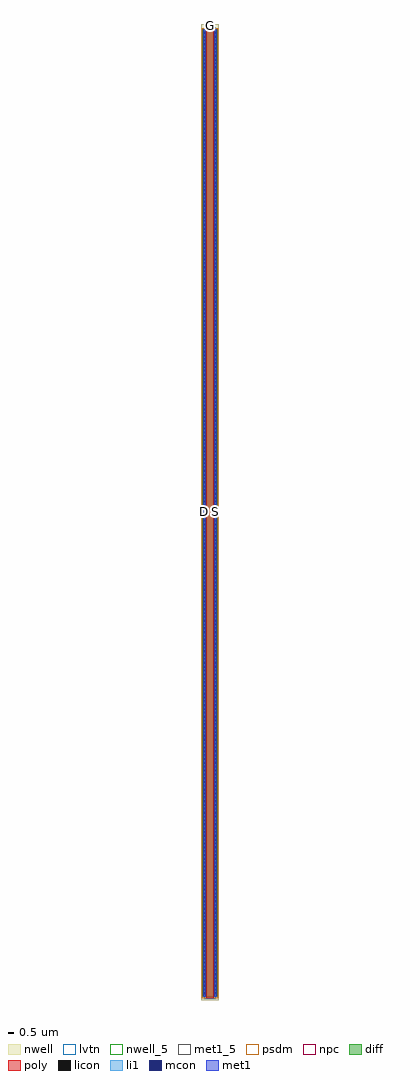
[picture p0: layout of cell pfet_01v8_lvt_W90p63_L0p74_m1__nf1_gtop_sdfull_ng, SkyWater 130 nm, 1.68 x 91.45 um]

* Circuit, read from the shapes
.subckt pfet_01v8_lvt_W90p63_L0p74_m1__nf1_gtop_sdfull_ng B D G S
XM1 S G D B sky130_fd_pr__pfet_01v8_lvt w=90.63 l=0.74
.ends

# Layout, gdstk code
import gdstk
lib = gdstk.Library(unit=1e-6, precision=1e-09)
def R(c, l, rs):  # rectangles x0, y0, x1, y1
    for r in rs: c.add(gdstk.rectangle(r[:2], r[2:], *l))
def A(c, l, x, y, w, h, nx, ny, dx, dy):  # array of equal rectangles
    R(c, l, [(x+i*dx, y+j*dy, x+i*dx+w, y+j*dy+h) for i in range(nx) for j in range(ny)])
nwell_5 = (64, 5)
nwell = (64, 20)
diff = (65, 20)
poly = (66, 20)
licon = (66, 44)
li1 = (67, 20)
mcon = (67, 44)
met1_5 = (68, 5)
met1 = (68, 20)
psdm = (94, 20)
npc = (95, 20)
lvtn = (125, 44)

sky130_fd_pr__pfet_01v8_ = lib.new_cell('sky130_fd_pr__pfet_01v8_lvt_XUBZ8A')
R(sky130_fd_pr__pfet_01v8_, nwell, [(-0.84,-45.805,0.84,45.635)])
R(sky130_fd_pr__pfet_01v8_, diff, [(-0.66,-45.495,0.66,45.135)])
R(sky130_fd_pr__pfet_01v8_, poly, [(-0.37,-45.625,0.37,45.62)])
A(sky130_fd_pr__pfet_01v8_, licon, -0.6, -45.315, 0.17, 0.17, 1, 266, 0, 0.34)
A(sky130_fd_pr__pfet_01v8_, licon, 0.43, -45.315, 0.17, 0.17, 1, 266, 0, 0.34)
R(sky130_fd_pr__pfet_01v8_, licon, [(-0.255,45.37,-0.085,45.54), (0.085,45.37,0.255,45.54)])
R(sky130_fd_pr__pfet_01v8_, li1, [(-0.6,-45.515,-0.43,45.155), (0.43,-45.515,0.6,45.155), (-0.37,45.37,0.37,45.54)])
A(sky130_fd_pr__pfet_01v8_, mcon, -0.6, -45.265, 0.17, 0.17, 1, 251, 0, 0.36)
A(sky130_fd_pr__pfet_01v8_, mcon, 0.43, -45.265, 0.17, 0.17, 1, 251, 0, 0.36)
R(sky130_fd_pr__pfet_01v8_, mcon, [(-0.265,45.37,-0.095,45.54), (0.095,45.37,0.265,45.54)])
R(sky130_fd_pr__pfet_01v8_, met1, [(-0.63,-45.495,-0.4,45.135), (0.4,-45.495,0.63,45.135), (-0.35,45.34,0.35,45.57)])
R(sky130_fd_pr__pfet_01v8_, psdm, [(-0.785,-45.62,0.785,45.26)])
R(sky130_fd_pr__pfet_01v8_, npc, [(-0.355,45.27,0.355,45.64)])
R(sky130_fd_pr__pfet_01v8_, lvtn, [(-0.55,-45.675,0.55,45.315)])
sky130_fd_pr__pfet_01v8_.add(gdstk.Label('D', (-0.515,-0.18), layer=67, texttype=5))
sky130_fd_pr__pfet_01v8_.add(gdstk.Label('S', (0.515,-0.18), layer=67, texttype=5))
sky130_fd_pr__pfet_01v8_.add(gdstk.Label('G', (0,45.455), layer=67, texttype=5))

pfet_01v8_lvt_w90p63_l0p = lib.new_cell('pfet_01v8_lvt_W90p63_L0p74_m1__nf1_gtop_sdfull_ng')
R(pfet_01v8_lvt_w90p63_l0p, nwell_5, [(0.05,45.67,0.15,45.77)])
R(pfet_01v8_lvt_w90p63_l0p, nwell, [(0.05,45.67,0.15,45.77)])
R(pfet_01v8_lvt_w90p63_l0p, met1_5, [(0.21,45.625,0.44,45.825), (1.24,45.625,1.47,45.825), (0.49,91.145,1.19,91.375)])
R(pfet_01v8_lvt_w90p63_l0p, met1, [(0.21,45.625,0.44,45.825), (1.24,45.625,1.47,45.825), (0.49,91.145,1.19,91.375)])
pfet_01v8_lvt_w90p63_l0p.add(gdstk.Reference(sky130_fd_pr__pfet_01v8_, (0.84,45.805)))
pfet_01v8_lvt_w90p63_l0p.add(gdstk.Label('D', (0.325,45.725), layer=68, texttype=5))
pfet_01v8_lvt_w90p63_l0p.add(gdstk.Label('S', (1.355,45.725), layer=68, texttype=5))
pfet_01v8_lvt_w90p63_l0p.add(gdstk.Label('G', (0.84,91.26), layer=68, texttype=5))
pfet_01v8_lvt_w90p63_l0p.add(gdstk.Label('B', (0.1,45.72), layer=64, texttype=5))

lib.write_gds('pfet_01v8_lvt_W90p63_L0p74_m1__nf1_gtop_sdfull_ng.gds')
